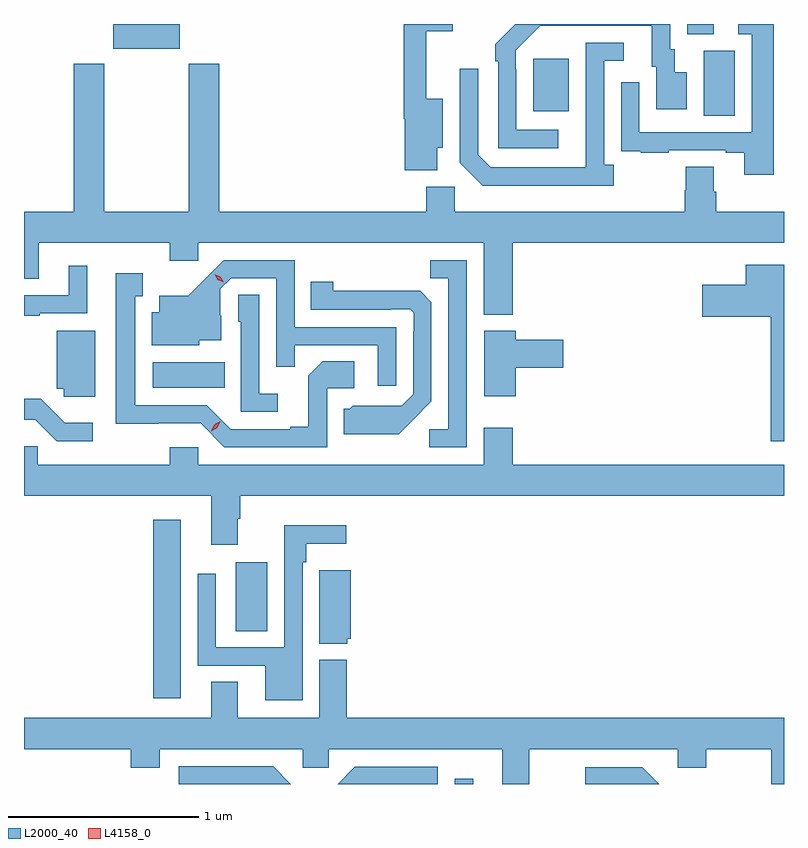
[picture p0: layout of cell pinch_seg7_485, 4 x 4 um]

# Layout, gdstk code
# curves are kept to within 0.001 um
import gdstk
lib = gdstk.Library(unit=1e-6, precision=1e-09)
def R(c, l, rs):  # rectangles x0, y0, x1, y1
    for r in rs: c.add(gdstk.rectangle(r[:2], r[2:], *l))
def P(c, l, *ps):  # polygons
    for p in ps: c.add(gdstk.Polygon(p, *l))
L2000_40 = (2000, 40)
L4158_0 = (4158, 0)

pinch_seg7_485 = lib.new_cell('pinch_seg7_485')
R(pinch_seg7_485, L2000_40, [(206.011,1063.036,206.107,1063.063), (204.422,1063.488,204.568,1064.428), (204.857,1063.84,205.024,1064.203), (204.42,1065.122,204.8,1065.256), (207.32,1066.552,207.484,1066.896), (206.423,1066.577,206.611,1066.852), (204.212,1066.907,204.562,1067.036), (207.233,1066.981,207.373,1067.036)])
P(pinch_seg7_485, L2000_40, [(207.689,1067.036),(207.501,1067.036),(207.501,1066.983),(207.573,1066.983),(207.573,1066.467),(206.982,1066.467),(206.982,1066.729),(206.886,1066.729),(206.886,1066.474),(206.887,1066.474),(206.887,1066.365),(206.989,1066.365),(206.989,1066.359),(207.137,1066.359),(207.137,1066.371),(207.437,1066.371),(207.437,1066.359),(207.533,1066.359),(207.533,1066.242),(207.689,1066.242)],
  [(205.918,1066.385),(205.948,1066.385),(205.948,1066.642),(205.859,1066.642),(205.859,1066.998),(205.999,1066.998),(205.999,1067.036),(205.741,1067.036),(205.741,1066.538),(205.748,1066.538),(205.748,1066.266),(205.918,1066.266)],
  [(206.554,1066.479),(206.334,1066.479),(206.334,1066.799),(206.331,1066.799),(206.331,1066.899),(206.46,1067.028),(207.047,1067.028),(207.047,1066.812),(207.071,1066.812),(207.071,1066.587),(207.232,1066.587),(207.232,1066.783),(207.169,1066.783),(207.169,1066.902),(207.144,1066.902),(207.144,1067.036),(206.332,1067.036),(206.329,1067.033),(206.328,1067.034),(206.223,1066.929),(206.223,1066.841),(206.238,1066.841),(206.238,1066.383),(206.554,1066.383)],
  [(206.848,1066.294),(206.796,1066.294),(206.796,1066.842),(206.899,1066.842),(206.899,1066.938),(206.7,1066.938),(206.699,1066.281),(206.199,1066.281),(206.133,1066.347),(206.133,1066.801),(206.037,1066.801),(206.037,1066.305),(206.158,1066.184),(206.848,1066.184)],
  [(206.315,1065.884),(207.743,1065.884),(207.743,1066.048),(207.386,1066.048),(207.386,1066.154),(207.373,1066.154),(207.373,1066.286),(207.226,1066.286),(207.226,1066.161),(207.221,1066.161),(207.221,1066.048),(206.01,1066.048),(206.01,1066.18),(205.859,1066.18),(205.859,1066.048),(204.77,1066.048),(204.77,1066.828),(204.61,1066.828),(204.61,1066.048),(204.165,1066.048),(204.165,1066.828),(204.005,1066.828),(204.005,1066.048),(203.743,1066.048),(203.743,1065.694),(203.821,1065.694),(203.821,1065.884),(204.509,1065.884),(204.509,1065.789),(204.66,1065.789),(204.66,1065.884),(206.162,1065.884),(206.162,1065.506),(206.315,1065.506)],
  [(206.073,1065.792),(205.882,1065.792),(205.882,1065.697),(205.977,1065.697),(205.977,1064.904),(205.875,1064.904),(205.875,1064.808),(206.073,1064.808)],
  [(205.701,1065.441),(205.167,1065.441),(205.167,1065.792),(204.794,1065.792),(204.607,1065.607),(204.455,1065.607),(204.455,1065.52),(204.416,1065.52),(204.416,1065.344),(204.666,1065.344),(204.666,1065.371),(204.781,1065.371),(204.781,1065.5),(204.777,1065.5),(204.777,1065.642),(204.834,1065.699),(205.071,1065.699),(205.071,1065.232),(205.169,1065.232),(205.169,1065.345),(205.605,1065.345),(205.605,1065.132),(205.701,1065.132)],
  [(207.743,1065.769),(207.542,1065.769),(207.542,1065.664),(207.312,1065.664),(207.312,1065.494),(207.672,1065.494),(207.672,1064.841),(207.743,1064.841)],
  [(203.827,1065.513),(204.076,1065.513),(204.076,1065.763),(203.978,1065.763),(203.978,1065.609),(203.743,1065.609),(203.743,1065.501),(203.827,1065.501)],
  [(205.338,1065.12),(205.48,1065.12),(205.48,1065.26),(205.315,1065.26),(205.239,1065.184),(205.239,1064.917),(205.145,1064.917),(205.145,1064.904),(204.831,1064.904),(204.705,1065.03),(204.328,1065.03),(204.328,1065.603),(204.367,1065.603),(204.367,1065.724),(204.227,1065.724),(204.227,1064.933),(204.672,1064.934),(204.798,1064.808),(205.338,1064.808)],
  [(205.795,1064.957),(205.887,1065.05),(205.887,1065.572),(205.828,1065.631),(205.371,1065.632),(205.371,1065.679),(205.252,1065.679),(205.252,1065.531),(205.676,1065.531),(205.676,1065.534),(205.776,1065.534),(205.794,1065.516),(205.794,1065.416),(205.791,1065.416),(205.791,1065.087),(205.731,1065.027),(205.474,1065.028),(205.458,1065.012),(205.427,1065.012),(205.427,1064.876),(205.715,1064.876)],
  [(205.078,1065.091),(204.981,1065.091),(204.981,1065.611),(204.87,1065.611),(204.87,1065.468),(204.885,1065.468),(204.885,1064.994),(205.078,1064.994)],
  [(204.118,1065.421),(203.915,1065.421),(203.915,1065.116),(203.952,1065.116),(203.952,1065.074),(204.118,1065.074)],
  [(206.332,1065.227),(206.581,1065.227),(206.581,1065.374),(206.332,1065.374),(206.332,1065.421),(206.165,1065.421),(206.165,1065.078),(206.332,1065.078)],
  [(204.106,1064.938),(203.957,1064.938),(203.831,1065.064),(203.743,1065.064),(203.743,1064.954),(203.803,1064.954),(203.916,1064.841),(204.106,1064.841)],
  [(204.868,1064.432),(204.881,1064.432),(204.881,1064.552),(207.743,1064.552),(207.743,1064.716),(206.315,1064.716),(206.315,1064.911),(206.162,1064.911),(206.162,1064.716),(204.66,1064.716),(204.66,1064.809),(204.509,1064.809),(204.509,1064.716),(203.815,1064.716),(203.815,1064.814),(203.743,1064.814),(203.743,1064.552),(204.728,1064.552),(204.728,1064.295),(204.868,1064.295)],
  [(205.209,1064.204),(205.229,1064.204),(205.229,1064.3),(205.438,1064.3),(205.438,1064.398),(205.113,1064.398),(205.113,1063.755),(204.753,1063.755),(204.753,1064.143),(204.657,1064.143),(204.657,1063.659),(205.013,1063.659),(205.013,1063.478),(205.209,1063.478)],
  [(205.443,1063.8),(205.462,1063.8),(205.462,1064.161),(205.298,1064.161),(205.298,1063.775),(205.443,1063.775)],
  [(206.401,1063.22),(207.185,1063.22),(207.185,1063.121),(207.333,1063.121),(207.333,1063.22),(207.677,1063.22),(207.677,1063.036),(207.743,1063.036),(207.743,1063.384),(205.442,1063.384),(205.442,1063.69),(205.298,1063.69),(205.298,1063.384),(204.868,1063.384),(204.868,1063.574),(204.728,1063.574),(204.728,1063.384),(203.743,1063.384),(203.743,1063.22),(204.305,1063.22),(204.305,1063.121),(204.457,1063.121),(204.457,1063.22),(205.209,1063.22),(205.209,1063.122),(205.347,1063.122),(205.347,1063.22),(206.261,1063.22),(206.261,1063.036),(206.401,1063.036)],
  [(205.055,1063.129),(204.558,1063.129),(204.558,1063.036),(205.148,1063.036)],
  [(205.92,1063.128),(205.485,1063.128),(205.393,1063.036),(205.92,1063.036)],
  [(206.997,1063.125),(206.697,1063.125),(206.697,1063.036),(207.086,1063.036)])
P(pinch_seg7_485, L4158_0, [(204.793,1065.676),(204.763,1065.691),(204.746,1065.72),(204.746,1065.72),(204.746,1065.72),(204.776,1065.705),(204.794,1065.676),(204.794,1065.676)],
  [(204.728,1064.892),(204.728,1064.892),(204.745,1064.926),(204.776,1064.945),(204.776,1064.945),(204.776,1064.945),(204.76,1064.912),(204.728,1064.892)])

lib.write_gds('pinch_seg7_485.gds')
